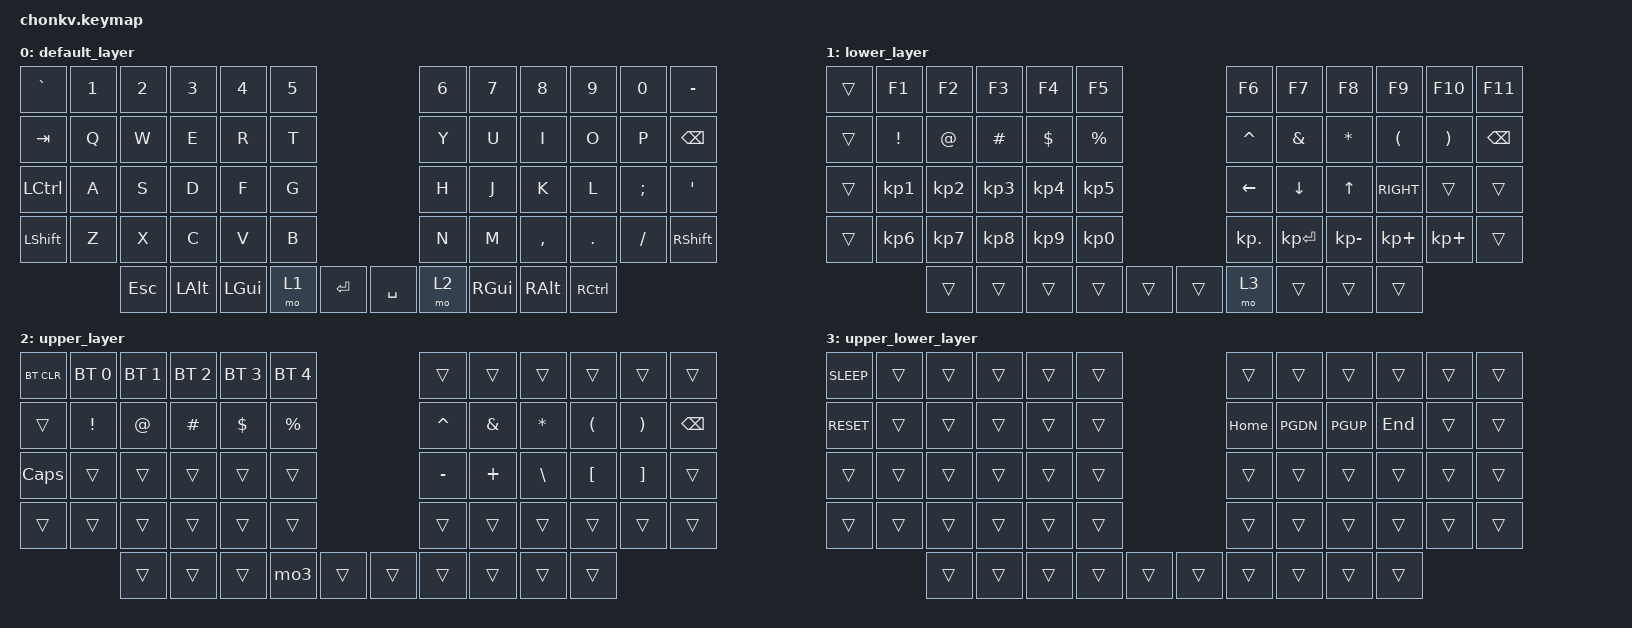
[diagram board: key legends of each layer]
#include <behaviors.dtsi>
#include <dt-bindings/zmk/keys.h>
#include <dt-bindings/zmk/bt.h>

/ {
    keymap {
        compatible = "zmk,keymap";

        default_layer {
          // ,-----------------------------------------.               ,-----------------------------------------.
          // |  `   |  1   |  2   |  3   |  4   |  5   |               |  6   |  7   |  8   |  9   |  0   |  -   |
          // |------+------+------+------+------+------|               |------+------+------+------+------+------|
          // | Tab  |  Q   |  W   |  E   |  R   |  T   |               |  Y   |  U   |  I   |  O   |  P   | BSPC |
          // |------+------+------+------+------+------|               |------+------+------+------+------+------|
          // | Ctrl  |  A   |  S   |  D   |  F   |  G   |               |  H   |  J   |  K   |  L   |  ;   |  '   |
          // |------+------+------+------+------+------+------. .------+------+------+------+------+------+------|
          // | Shift|  Z   |  X   |  C   |  V   |  B   |      | |      |  N   |  M   |  ,   |  .   |  /   | Shift|
          // `-------------+------+------+------+------| Enter| | Space|------+------+------+------+------+------'
          //               | Esc | Alt  | Cmd  | Lower|      | |      | Raise| Cmd  | Alt  | Ctrl |
          //               `----------------------------------' '----------------------------------'
          bindings = <
            &kp GRAVE &kp N1 &kp N2    &kp N3   &kp N4   &kp N5                   &kp N6 &kp N7   &kp N8    &kp N9    &kp N0   &kp MINUS
            &kp TAB   &kp Q  &kp W     &kp E    &kp R    &kp T                    &kp Y  &kp U    &kp I     &kp O     &kp P    &kp BSPC
            &kp LCTRL   &kp A  &kp S     &kp D    &kp F    &kp G                    &kp H  &kp J    &kp K     &kp L     &kp SEMI &kp SQT
            &kp LSHFT &kp Z  &kp X     &kp C    &kp V    &kp B                    &kp N  &kp M    &kp COMMA &kp DOT   &kp FSLH &kp RSHFT
                            &kp Esc  &kp LALT &kp LGUI &mo 1  &kp RET &kp SPACE &mo 2  &kp RGUI &kp RALT  &kp RCTRL
          >;
        };

        lower_layer {
          // ,-----------------------------------------.               ,-----------------------------------------.
          // |      |  F1  |  F2  |  F3  |  F4  |  F5  |               |  F6  |  F7  |  F8  |  F9  | F10  | F11  |
          // |------+------+------+------+------+------|               |------+------+------+------+------+------|
          // |      |  !   |  @   |  #   |  $   |  %   |               |  ^   |  &   |  *   |  (   |  )   | BSPC |
          // |------+------+------+------+------+------|               |------+------+------+------+------+------|
          // |      |  1   |  2   |  3   |  4   |  5   |               | Left | Down | Up   | Right|      |      |
          // |------+------+------+------+------+------+------. .------+------+------+------+------+------+------|
          // |      |  6   |  7   |  8   |  9   |  0   |      | |      |  {   |  }   |  |   |  _   |  +   |      |
          // `-------------+------+------+------+------|      | |      |------+------+------+------+------+------'
          //               |      |      |      |      |      | |      | Raise|      |      |      |
          //               `----------------------------------' '----------------------------------'
          bindings = <
            &trans &kp F1    &kp F2    &kp F3      &kp F4   &kp F5                 &kp F6    &kp F7   &kp F8    &kp F9    &kp F10  &kp F11
            &trans &kp EXCL  &kp AT    &kp HASH    &kp DLLR &kp PRCNT              &kp CARET &kp AMPS &kp ASTRK &kp LPAR  &kp RPAR &kp BSPC
            &trans &kp KP_1  &kp KP_2  &kp KP_3    &kp KP_4 &kp KP_5               &kp LEFT &kp DOWN &kp UP &RIGHT &trans &trans
            &trans &kp KP_6  &kp KP_7 &kp KP_8    &kp KP_9 &kp KP_0              &kp KP_DOT &kp KP_ENTER &kp KP_MINUS &kp KP_PLUS &kp KP_PLUS &trans
                             &trans    &trans      &trans   &trans   &trans &trans &mo 3     &trans   &trans    &trans
          >;
        };

        upper_layer {
          // ,-----------------------------------------.               ,-----------------------------------------.
          // |BT CLR| BT1  | BT2  | BT3  | BT4  | BT5  |               |      |      |      |      |      |      |
          // |------+------+------+------+------+------|               |------+------+------+------+------+------|
          // |      |  !   |  @   |  #   |  $   |  %   |               | ^    | &    | *    | (    | )    | BSPC |
          // |------+------+------+------+------+------|               |------+------+------+------+------+------|
          // |      |      |      |      |      | Caps |               | -    | =    | \    | [    | ]    |      |
          // |------+------+------+------+------+------+------. .------+------+------+------+------+------+------|
          // |      |      |      |      |      |      |      | |      | _    | +    | |    | {    | }    |      |
          // `-------------+------+------+------+------|      | |      |------+------+------+------+------+------'
          //               |      |      |      | Lower|      | |      |      |      |      |      |
          //               `----------------------------------' '----------------------------------'
          bindings = <
            &bt BT_CLR &bt BT_SEL 0 &bt BT_SEL 1 &bt BT_SEL 2 &bt BT_SEL 3 &bt BT_SEL 4               &trans    &trans   &trans   &trans    &trans &trans
            &trans     &kp EXCL     &kp AT      &kp HASH     &kp DLLR     &kp PRCNT                  &kp CARET &kp AMPS &kp ASTRK &kp LPAR  &kp RPAR &kp BSPC
            &kp CAPS     &trans       &trans       &trans       &trans       &trans                   &kp MINUS &kp PLUS  &kp BSLH &kp LBKT &kp RBKT &trans
            &trans     &trans       &trans       &trans       &trans       &trans                     &trans    &trans &trans   &trans   &trans &trans
                                    &trans       &trans       &trans       &mo3        &trans &trans &trans    &trans   &trans   &trans
          >;
        };

        upper_lower_layer {
          // ,-----------------------------------------.               ,-----------------------------------------.
          // |      |      |      |      |      |      |               |      |      |      |      |      |      |
          // |------+------+------+------+------+------|               |------+------+------+------+------+------|
          // | RESET|      |      |      |      |      |               |      |      |      |      |      |      |
          // |------+------+------+------+------+------|               |------+------+------+------+------+------|
          // |      |      |      |      |      |      |               | Home |PgDown| PgUp | End  |      |      |
          // |------+------+------+------+------+------+------. .------+------+------+------+------+------+------|
          // | MacSw|      |      |      |      |      |      | |      |      |      |      |      |      | WinSw|
          // `-------------+------+------+------+------|      | |      |------+------+------+------+------+------'
          //               |      |      |      |      |      | |      |      |      |      |      |
          //               `----------------------------------' '----------------------------------'
          bindings = <
              &kp K_SLEEP &trans &trans &trans &trans &trans               &trans &trans       &trans     &trans       &trans &trans
              &kp C_RESET &trans &trans &trans &trans &trans               &kp HOME &kp PGDN   &kp PGUP   &kp END      &trans &trans
              &trans      &trans &trans &trans &trans &trans               &trans &trans       &trans     &trans       &trans &trans
              &trans      &trans &trans &trans &trans &trans               &trans &trans       &trans     &trans       &trans &trans
                                 &trans &trans &trans &trans &trans &trans &trans &trans       &trans     &trans
            >;
          };
    };
};

&nice_view_spi {
  cs-gpios = <&gpio1 1 GPIO_ACTIVE_HIGH>;
};
